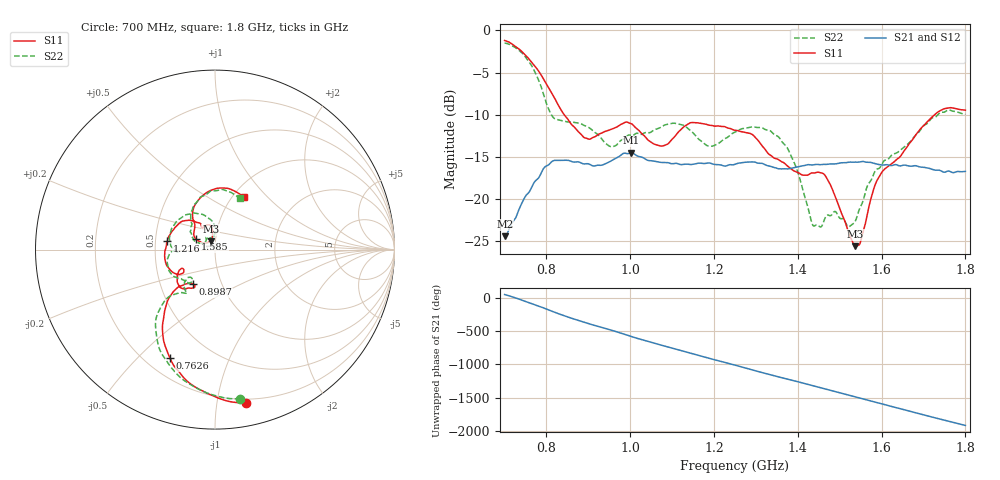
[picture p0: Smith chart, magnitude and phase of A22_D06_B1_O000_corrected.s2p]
! Created with skrf 1.9.0 (http://scikit-rf.org).
# Hz S RI R 50.0
!freq ReS11 ImS11 ReS21 ImS21 ReS12 ImS12 ReS22 ImS22
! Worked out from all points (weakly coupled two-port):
!   1601 points, 700 MHz to 1.8 GHz, reference 50 ohm
!   highest |S21| = -14.51 dB at 1.002 GHz (marker M1); lowest = -24.4 dB at 700.7 MHz (marker M2)
!   lowest |S11| = -25.6 dB at 1.537 GHz (marker M3), VSWR 1.11, Z = 47.5 + j4.49 ohm
!   |S11| at or under -10 dB: 842.3 MHz to 1.726 GHz (884 MHz wide, 68.8 % of centre)
!   |S22| runs from -23.3 to -1.5 dB; largest |S21 - S12| = 0.0035
!   S11 on the Smith chart (normalised r, x): 700 MHz: 0.17, -1.21; 762.6 MHz: 0.30, -0.63; 898.7 MHz: 0.73, -0.30; 1.216 GHz: 0.58, +0.06; 1.585 GHz: 0.80, +0.10; 1.8 GHz: 1.12, +0.75
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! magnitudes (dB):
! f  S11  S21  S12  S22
! 700 MHz  -1.2  -24.4  -24.2  -1.5
! 700.7 MHz  -1.2  -24.4  -24.1  -1.5
! 762.6 MHz  -3.7  -18.8  -18.8  -4.0
! 815.5 MHz  -7.7  -15.5  -15.5  -10.3
! 883.6 MHz  -12.4  -15.7  -15.6  -11.1
! 898.7 MHz  -12.8  -15.8  -15.8  -11.4
! 953.7 MHz  -11.7  -15.5  -15.5  -13.8
! 1.002 GHz  -11.1  -14.5  -14.6  -12.4
! 1.067 GHz  -13.6  -15.6  -15.5  -11.6
! 1.143 GHz  -10.9  -15.9  -15.9  -11.9
! 1.216 GHz  -11.4  -15.9  -16.0  -13.2
! 1.25 GHz  -11.8  -15.9  -15.8  -12.1
! 1.356 GHz  -15.4  -16.4  -16.3  -12.7
! 1.394 GHz  -16.7  -16.2  -16.2  -16.0
! 1.434 GHz  -16.9  -15.9  -15.9  -22.8
! 1.469 GHz  -17.5  -15.9  -15.9  -21.9
! 1.537 GHz  -25.6  -15.6  -15.6  -22.6
! 1.551 GHz  -24.8  -15.5  -15.6  -20.8
! 1.585 GHz  -18.2  -15.8  -15.8  -16.6
! 1.617 GHz  -16.0  -16.0  -15.9  -15.2
! 1.733 GHz  -9.7  -16.6  -16.6  -10.0
! 1.8 GHz  -9.5  -16.7  -16.7  -10.0
